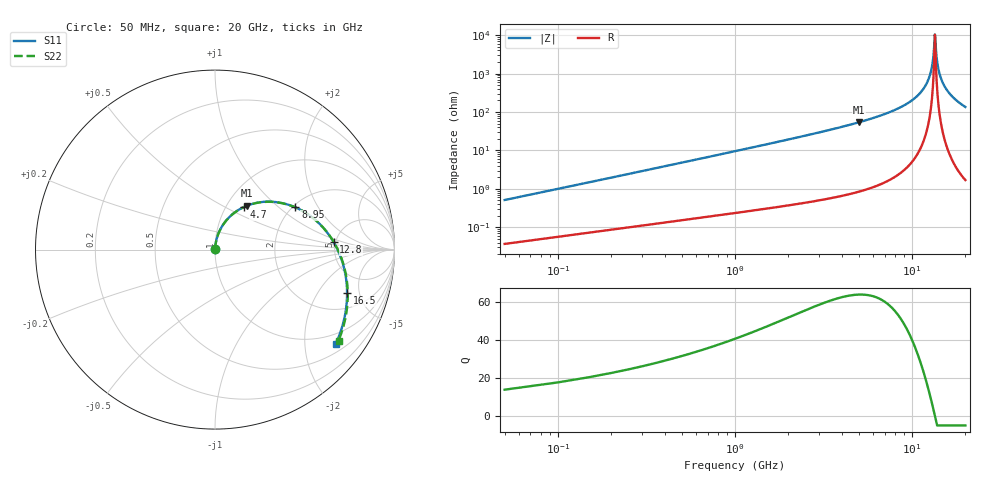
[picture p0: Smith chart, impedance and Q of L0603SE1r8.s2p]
!	AVX	Thin	Film	Operation	Date:	2004
!	Description:	"Series,"	Thin	"Film,"	"LGA,"	RF	Inductors
!	Part	Number:	L06031r8nH
!	50	MHz	-	20	GHz
!	Serial	Measurements
#	mhz	S	db	R	50
!	S11	S11	S21	S21	S12	S12	S22	S22
!	dB	Phase	dB	Phase	dB	Phase	dB	Phase
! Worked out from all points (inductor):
!   400 points, 50 MHz to 20 GHz, reference 50 ohm
!   read as 1/Y11, port 2 shorted: L = 1.56 nH near 150 MHz
!   highest Q = 64 at 5 GHz (marker M1), where L = 1.72 nH
!   self-resonance near 13.45 GHz
!   S11 on the Smith chart (normalised r, x): 50 MHz: 1.00, +0.01; 4.7 GHz: 1.21, +0.62; 8.95 GHz: 2.07, +1.31; 12.8 GHz: 4.82, +0.70; 16.5 GHz: 3.09, -3.77; 20 GHz: 0.71, -2.74
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50  -48.86 83.7  -0.00 -0.4  -0.00 -0.4  -48.86 83.7
100  -43.16 84.6  -0.01 -0.7  -0.01 -0.7  -43.16 84.6
150  -39.79 84.8  -0.01 -1.1  -0.01 -1.1  -39.79 84.8
250  -35.52 84.8  -0.01 -1.8  -0.01 -1.8  -35.52 84.8
350  -32.70 84.4  -0.01 -2.5  -0.01 -2.5  -32.70 84.4
450  -30.58 84.0  -0.02 -3.3  -0.02 -3.3  -30.58 84.0
600  -28.15 83.2  -0.02 -4.3  -0.02 -4.3  -28.15 83.2
800  -25.72 82.0  -0.03 -5.8  -0.03 -5.8  -25.72 82.0
1250  -21.94 79.2  -0.05 -9.0  -0.05 -9.0  -21.94 79.1
1800  -18.85 75.5  -0.09 -12.8  -0.09 -12.8  -18.85 75.5
2500  -16.08 70.8  -0.14 -17.8  -0.14 -17.8  -16.08 70.7
3400  -13.51 64.7  -0.24 -24.0  -0.24 -24.0  -13.51 64.6
4700  -10.85 55.9  -0.42 -33.0  -0.42 -33.0  -10.85 55.7
5000  -10.36 53.9  -0.47 -35.1  -0.47 -35.1  -10.35 53.7
6700  -8.05 42.5  -0.81 -46.6  -0.81 -46.6  -8.05 42.3
8950  -5.91 27.7  -1.37 -61.5  -1.37 -61.5  -5.90 27.5
10050  -5.11 20.6  -1.69 -68.5  -1.69 -68.5  -5.10 20.5
12800  -3.57 3.5  -2.63 -85.6  -2.63 -85.6  -3.57 3.6
13350  -3.33 0.2  -2.84 -88.9  -2.84 -88.9  -3.32 0.3
16500  -2.21 -18.3  -4.17 -107.1  -4.17 -107.1  -2.20 -17.7
16700  -2.15 -19.5  -4.26 -108.2  -4.26 -108.2  -2.14 -18.8
20000  -1.38 -38.0  -5.94 -126.2  -5.94 -126.2  -1.36 -36.4
